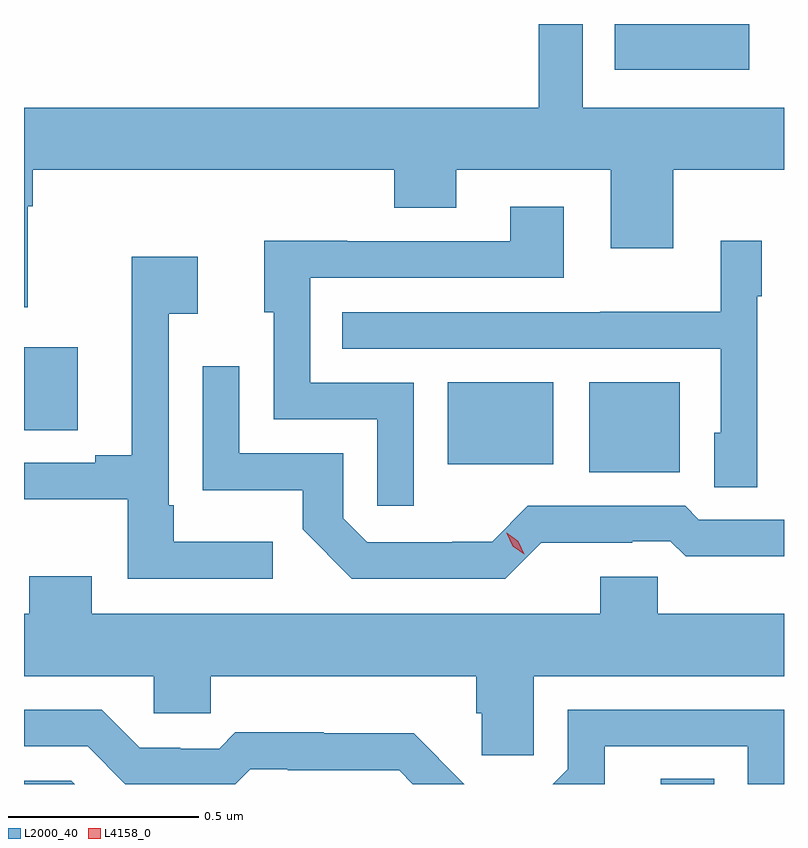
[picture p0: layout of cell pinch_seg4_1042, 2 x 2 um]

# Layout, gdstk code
import gdstk
lib = gdstk.Library(unit=1e-6, precision=1e-09)
def R(c, l, rs):  # rectangles x0, y0, x1, y1
    for r in rs: c.add(gdstk.rectangle(r[:2], r[2:], *l))
def P(c, l, *ps):  # polygons
    for p in ps: c.add(gdstk.Polygon(p, *l))
L2000_40 = (2000, 40)
L4158_0 = (4158, 0)

pinch_seg4_1042 = lib.new_cell('pinch_seg4_1042')
R(pinch_seg4_1042, L2000_40, [(797.291,780.552,797.431,780.566), (797.102,781.373,797.341,781.609), (796.73,781.394,797.008,781.609), (795.615,781.483,795.757,781.702), (797.17,782.432,797.524,782.552)])
P(pinch_seg4_1042, L2000_40, [(795.615,781.806),(795.625,781.806),(795.625,782.072),(795.638,782.072),(795.638,782.168),(796.589,782.168),(796.589,782.069),(796.753,782.069),(796.753,782.168),(797.159,782.168),(797.159,781.962),(797.323,781.962),(797.323,782.168),(797.615,782.168),(797.615,782.332),(797.085,782.332),(797.085,782.552),(796.969,782.552),(796.969,782.332),(795.615,782.332)],
  [(796.641,781.608),(796.368,781.608),(796.368,781.884),(797.035,781.884),(797.035,782.071),(796.895,782.071),(796.895,781.98),(796.465,781.98),(796.465,781.982),(796.247,781.982),(796.247,781.794),(796.272,781.794),(796.272,781.512),(796.545,781.512),(796.545,781.284),(796.641,781.284)],
  [(797.544,781.836),(797.557,781.836),(797.557,781.981),(797.448,781.981),(797.448,781.795),(797.131,781.795),(797.131,781.794),(796.453,781.794),(796.453,781.698),(797.448,781.698),(797.448,781.476),(797.432,781.476),(797.432,781.333),(797.544,781.333)],
  [(796.27,781.189),(796.009,781.189),(796.009,781.285),(795.996,781.285),(795.996,781.79),(796.072,781.79),(796.072,781.939),(795.899,781.939),(795.899,781.417),(795.803,781.417),(795.803,781.398),(795.615,781.398),(795.615,781.301),(795.888,781.301),(795.888,781.092),(796.27,781.092)],
  [(796.976,781.187),(797.216,781.187),(797.216,781.191),(797.316,781.191),(797.356,781.152),(797.615,781.152),(797.615,781.248),(797.391,781.248),(797.355,781.284),(796.941,781.284),(796.847,781.19),(796.742,781.19),(796.742,781.188),(796.518,781.188),(796.455,781.251),(796.455,781.422),(796.182,781.422),(796.182,781.651),(796.086,781.651),(796.086,781.325),(796.348,781.325),(796.348,781.223),(796.478,781.092),(796.881,781.092)],
  [(797.132,781.098),(797.132,781),(795.793,781),(795.793,781.099),(795.629,781.099),(795.629,781),(795.615,781),(795.615,780.836),(795.957,780.836),(795.957,780.738),(796.107,780.738),(796.107,780.836),(796.805,780.836),(796.805,780.738),(796.819,780.738),(796.819,780.628),(796.956,780.628),(796.956,780.836),(797.615,780.836),(797.615,781),(797.283,781),(797.283,781.098)],
  [(796.21,780.591),(796.309,780.591),(796.309,780.588),(796.602,780.588),(796.638,780.552),(796.773,780.552),(796.64,780.685),(796.404,780.685),(796.404,780.688),(796.171,780.688),(796.129,780.645),(796.026,780.645),(796.026,780.648),(795.919,780.648),(795.82,780.747),(795.615,780.747),(795.615,780.651),(795.783,780.651),(795.882,780.552),(796.171,780.552)],
  [(797.143,780.651),(797.52,780.651),(797.52,780.552),(797.615,780.552),(797.615,780.747),(797.046,780.747),(797.046,780.591),(797.007,780.552),(797.143,780.552)],
  [(795.739,780.561),(795.615,780.561),(795.615,780.552),(795.748,780.552)])
P(pinch_seg4_1042, L4158_0, [(796.932,781.157),(796.901,781.178),(796.886,781.212),(796.886,781.213),(796.886,781.213),(796.916,781.191),(796.932,781.157),(796.932,781.157)])

lib.write_gds('pinch_seg4_1042.gds')
